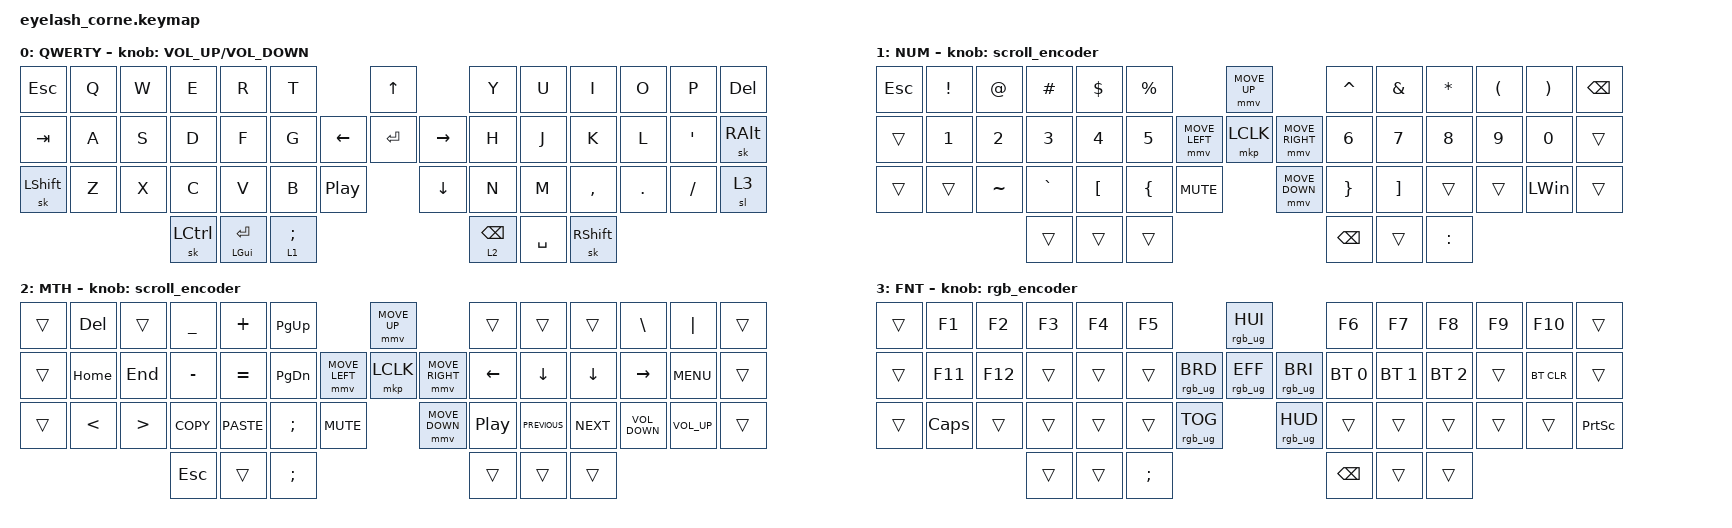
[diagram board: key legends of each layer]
#include <dt-bindings/zmk/mouse.h>
#include <input/processors.dtsi>
#include <behaviors.dtsi>
#include <dt-bindings/zmk/bt.h>
#include <dt-bindings/zmk/keys.h>
#include <dt-bindings/zmk/pointing.h>
#include <dt-bindings/zmk/pointing.h>
#include <dt-bindings/zmk/pointing.h>
#include <dt-bindings/zmk/rgb.h>

/*

   &mmv_input_listener {
       input-processors = <&zip_xy_scaler 2 1>;
   };

   &msc_input_listener {
       input-processors = <&zip_xy_scaler 2 1>;
   };

 */

#define ZMK_MOUSE_DEFAULT_MOVE_VAL 1200  // 600
#define ZMK_MOUSE_DEFAULT_SCRL_VAL 20    // 10

/ {
    behaviors {
        td0: td0 {
            compatible = "zmk,behavior-tap-dance";
            display-name = "Shift/Caps Lock Tap Dance";
            #binding-cells = <0>;
            bindings = <&kp LEFT_SHIFT>, <&kp CAPS>;
        };
    };

    rgb_encoder: rgb_encoder {
        compatible = "zmk,behavior-sensor-rotate";
        #sensor-binding-cells = <0>;
        bindings = <&rgb_ug RGB_BRI>, <&rgb_ug RGB_BRD>;
    };

    scroll_encoder: scroll_encoder {
        compatible = "zmk,behavior-sensor-rotate";
        #sensor-binding-cells = <0>;
        bindings = <&msc SCRL_DOWN>, <&msc SCRL_UP>;

        tap-ms = <30>;
    };

    keymap {
        compatible = "zmk,keymap";

        default_layer {
            display-name = "QWERTY";
            bindings = <
&kp ESCAPE  &kp Q  &kp W  &kp E      &kp R               &kp T                                          &kp UP                &kp Y            &kp U      &kp I            &kp O    &kp P             &kp DELETE
&kp TAB     &kp A  &kp S  &kp D      &kp F               &kp G                                &kp LEFT  &kp ENTER  &kp RIGHT  &kp H            &kp J      &kp K            &kp L    &kp SINGLE_QUOTE  &sk RIGHT_ALT
&sk LSHFT   &kp Z  &kp X  &kp C      &kp V               &kp B            &kp C_PLAY_PAUSE              &kp DOWN              &kp N            &kp M      &kp COMMA        &kp DOT  &kp FSLH          &sl 3
                          &sk LCTRL  &mt LEFT_GUI ENTER  &lt 1 SEMICOLON                                                      &lt 2 BACKSPACE  &kp SPACE  &sk RIGHT_SHIFT
            >;

            sensor-bindings = <&inc_dec_kp C_VOLUME_UP C_VOLUME_DOWN>;
        };

        lower_layer {
            display-name = "NUM";
            bindings = <
&kp ESCAPE  &kp EXCL      &kp AT        &kp HASH      &kp DLLR          &kp PRCNT                                     &mmv MOVE_UP                     &kp CARET        &kp AMPS           &kp ASTRK     &kp LPAR      &kp RPAR      &kp BSPC
&trans      &kp NUMBER_1  &kp NUMBER_2  &kp NUMBER_3  &kp NUMBER_4      &kp NUMBER_5                  &mmv MOVE_LEFT  &mkp LCLK       &mmv MOVE_RIGHT  &kp NUMBER_6     &kp NUMBER_7       &kp NUMBER_8  &kp NUMBER_9  &kp NUMBER_0  &trans
&trans      &trans        &kp TILDE     &kp GRAVE     &kp LEFT_BRACKET  &kp LEFT_BRACE  &kp C_MUTE                    &mmv MOVE_DOWN                   &kp RIGHT_BRACE  &kp RIGHT_BRACKET  &trans        &trans        &kp LEFT_WIN  &trans
                                        &trans        &trans            &trans                                                                         &kp BACKSPACE    &trans             &kp COLON
            >;

            sensor-bindings = <&scroll_encoder>;
        };

        raise_layer {
            display-name = "MTH";
            bindings = <
&trans  &kp DEL        &trans            &kp UNDERSCORE  &kp PLUS     &kp PAGE_UP                                  &mmv MOVE_UP                     &trans            &trans          &trans          &kp BACKSLASH      &kp PIPE         &trans
&trans  &kp HOME       &kp END           &kp MINUS       &kp EQUAL    &kp PAGE_DOWN                &mmv MOVE_LEFT  &mkp LCLK       &mmv MOVE_RIGHT  &kp LEFT_ARROW    &kp DOWN_ARROW  &kp DOWN_ARROW  &kp RIGHT_ARROW    &kp K_MENU       &trans
&trans  &kp LESS_THAN  &kp GREATER_THAN  &kp K_COPY      &kp K_PASTE  &kp SEMICOLON  &kp C_MUTE                    &mmv MOVE_DOWN                   &kp C_PLAY_PAUSE  &kp C_PREVIOUS  &kp C_NEXT      &kp C_VOLUME_DOWN  &kp C_VOLUME_UP  &trans
                                         &kp ESCAPE      &trans       &kp SEMICOLON                                                                 &trans            &trans          &trans
            >;

            sensor-bindings = <&scroll_encoder>;
        };

        function_layer {
            display-name = "FNT";
            bindings = <
&trans  &kp F1    &kp F2   &kp F3  &kp F4  &kp F5                                             &rgb_ug RGB_HUI                   &kp F6         &kp F7        &kp F8        &kp F9  &kp F10     &trans
&trans  &kp F11   &kp F12  &trans  &trans  &trans                            &rgb_ug RGB_BRD  &rgb_ug RGB_EFF  &rgb_ug RGB_BRI  &bt BT_SEL 0   &bt BT_SEL 1  &bt BT_SEL 2  &trans  &bt BT_CLR  &trans
&trans  &kp CAPS  &trans   &trans  &trans  &trans         &rgb_ug RGB_TOG                     &rgb_ug RGB_HUD                   &trans         &trans        &trans        &trans  &trans      &kp PRINTSCREEN
                           &trans  &trans  &kp SEMICOLON                                                                        &kp BACKSPACE  &trans        &trans
            >;

            sensor-bindings = <&rgb_encoder>;
        };
    };
};
